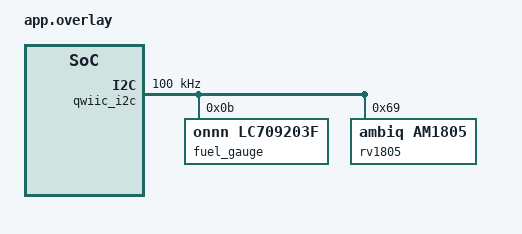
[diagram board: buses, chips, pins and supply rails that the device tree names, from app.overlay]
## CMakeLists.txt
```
# SPDX-License-Identifier: Apache-2.0
#
# ArtemisNano_Hive_Multisense firmware. Adding the app directory to BOARD_ROOT
# makes boards/sparkfun/artemis_nano available as -b sparkfun_artemis_nano.

cmake_minimum_required(VERSION 3.20.0)
list(APPEND BOARD_ROOT ${CMAKE_CURRENT_SOURCE_DIR})
find_package(Zephyr REQUIRED HINTS $ENV{ZEPHYR_BASE})
project(artemis_multisense)

target_sources(app PRIVATE src/main.c src/rv1805.c src/opt4048.c src/bno085.c
  src/person_sensor.c src/hive_ble.c)

# CEVA SH-2 sensor hub library (vendored, unmodified; see lib/sh2/VENDORED.txt).
target_sources(app PRIVATE
  lib/sh2/sh2.c
  lib/sh2/sh2_SensorValue.c
  lib/sh2/sh2_util.c
  lib/sh2/shtp.c
)
target_include_directories(app PRIVATE lib/sh2)
```

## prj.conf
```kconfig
# M4: sensors (RV-1805, LC709203F, OPT4048, BNO085) + BLE MagNET advert and HCP GATT.
CONFIG_GPIO=y
CONFIG_PRINTK=y
CONFIG_I2C=y
CONFIG_RTC=y
CONFIG_FUEL_GAUGE=y
CONFIG_LOG=y
CONFIG_LOG_MODE_IMMEDIATE=y
CONFIG_FPU=y
CONFIG_CBPRINTF_FP_SUPPORT=y
CONFIG_MAIN_STACK_SIZE=2048

# BLE peripheral: MagNET advert + Hanasu HCP GATT service
CONFIG_BT=y
CONFIG_BT_PERIPHERAL=y
CONFIG_BT_MAX_CONN=1
CONFIG_BT_DEVICE_NAME_DYNAMIC=y
CONFIG_BT_DEVICE_NAME_MAX=16
CONFIG_BT_DEVICE_NAME="MagNET"
CONFIG_BT_GATT_DYNAMIC_DB=n
CONFIG_BT_ATT_PREPARE_COUNT=4

# Pairing: Just Works, HCP-AUTH read forces encryption; bonds kept in flash
CONFIG_BT_SMP=y
CONFIG_BT_SMP_ALLOW_UNAUTH_OVERWRITE=y
CONFIG_BT_SETTINGS=y
CONFIG_SETTINGS=y
CONFIG_FLASH=y
CONFIG_FLASH_MAP=y
CONFIG_NVS=y

# Robustness: reboot on a fatal error instead of hanging (handler in main.c).
# No hardware stack guard on this port (no MPU support). CONFIG_STACK_SENTINEL
# was tried once and that boot stalled before BLE (USB also dropped; cause
# unconfirmed), so it stays off until retested.
CONFIG_REBOOT=y
```

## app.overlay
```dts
/*
 * ArtemisNano_Hive_Multisense app overlay.
 * Qwiic bus (IOM2, SCL pad 27 / SDA pad 25) at 100 kHz with the Multisensor chain:
 *   0x0B LC709203F fuel gauge   (M2, in-tree driver)
 *   0x44 OPT4048 color          (M3, out-of-tree driver)
 *   0x4A BNO085 IMU             (M3, CEVA SH-2 port)
 *   0x69 RV-1805 RTC            (M2, in-tree ambiq,am1805 driver; RV-1805 = AM1805)
 */

/ {
	aliases {
		rtc = &rv1805;
		fuel-gauge0 = &fuel_gauge;
	};
};

&qwiic_i2c {
	clock-frequency = <I2C_BITRATE_STANDARD>;
	status = "okay";

	fuel_gauge: lc709203f@b {
		compatible = "onnn,lc709203f";
		reg = <0x0b>;
		apa = "2000mAh";		/* 3.7 V 2000 mAh LiPo */
		battery-profile = <0x01>;	/* 4.2 V charged (Adafruit default) */
	};

	/* Alarm (CONFIG_RTC_ALARM) needs am1805-gpios = RV-1805 INT -> D6 (pad 43); not wired yet. */
	rv1805: rv1805@69 {
		compatible = "ambiq,am1805";
		reg = <0x69>;
	};
};
```

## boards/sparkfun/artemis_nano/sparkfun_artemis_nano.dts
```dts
/*
 * SPDX-License-Identifier: Apache-2.0
 *
 * SparkFun RedBoard Artemis Nano (DEV-15443), Artemis module = Ambiq Apollo3 Blue.
 * Derived from boards/ambiq/apollo3_evb (Zephyr v4.4.2).
 */

/dts-v1/;
#include <ambiq/ambiq_apollo3_blue.dtsi>

#include "sparkfun_artemis_nano-pinctrl.dtsi"

/ {
	model = "SparkFun RedBoard Artemis Nano";
	compatible = "sparkfun,artemis-nano";

	chosen {
		zephyr,itcm = &tcm;
		zephyr,sram = &sram0;
		zephyr,flash = &flash0;
		zephyr,console = &uart0;
		zephyr,shell-uart = &uart0;
		zephyr,flash-controller = &flash;
		zephyr,code-partition = &slot0_partition;
		zephyr,bt-hci = &bt_hci_apollo;
	};

	aliases {
		watchdog0 = &wdt0;
		led0 = &led0;
	};

	leds {
		compatible = "gpio-leds";

		/* Blue LED D1 on pad 19 via 1k to GND: active high */
		led0: led_0 {
			gpios = <&gpio0_31 19 GPIO_ACTIVE_HIGH>;
			label = "Blue LED";
		};
	};
};

&flash0 {
	erase-block-size = <8192>;
	write-block-size = <4>;

	partitions {
		compatible = "fixed-partitions";
		#address-cells = <1>;
		#size-cells = <1>;

		/* Ambiq secure bootloader: never write */
		internal_boot_partition: partition@0 {
			label = "internal_bootloader";
			reg = <0x00000000 0xc000>;
			read-only;
		};

		/* SparkFun Variable Loader (SVL): USB recovery path, never write */
		svl_partition: partition@c000 {
			label = "svl";
			reg = <0x0000c000 0x4000>;
			read-only;
		};

		/* Application, linked here via CONFIG_FLASH_LOAD_OFFSET=0x10000 */
		slot0_partition: partition@10000 {
			label = "image-0";
			reg = <0x00010000 0xec000>;
		};

		/* 16 KB at the end of the 1 MB flash */
		storage_partition: partition@fc000 {
			label = "storage";
			reg = <0x000fc000 0x4000>;
		};
	};
};

&stimer0 {
	clk-source = <3>;
};

&uart0 {
	current-speed = <115200>;
	pinctrl-0 = <&uart0_default>;
	pinctrl-names = "default";
	status = "okay";
};

&wdt0 {
	status = "okay";
};

/* Qwiic connector, off until a phase needs it */
&iom2 {
	qwiic_i2c: i2c {
		pinctrl-0 = <&i2c2_default>;
		pinctrl-names = "default";
		clock-frequency = <I2C_BITRATE_STANDARD>;
		scl-gpios = <&gpio0_31 27 (GPIO_OPEN_DRAIN | GPIO_PULL_UP)>;
		sda-gpios = <&gpio0_31 25 (GPIO_OPEN_DRAIN | GPIO_PULL_UP)>;
		status = "disabled";
	};
};

/*
 * Servo PWM on D9 (pad 39), timer 2 segment B. Off for phase 2; phase 3 enables it
 * and moves timer 2 to the 3 MHz clock so a 20 ms frame (60000 counts) fits in 16 bits.
 */
&timer2 {
	pwm2: pwm {
		timer-segment = "SEGMENT_B";
		pwm-type = "PWM_REPEAT";
		pinctrl-0 = <&pwm2_default>;
		pinctrl-names = "default";
		status = "disabled";
	};
};

/*
 * BLE: the Apollo3 Blue radio sits inside the Artemis module behind the internal
 * BLEIF, so no pads are needed. The EVB's bleif_default pinmux (pads 30-33, 35, 41)
 * is only applied with CONFIG_SPI_AMBIQ_BLEIF_TIMING_TRACE, so it is left out here
 * and header pins A1/A5/A14/A15 stay free.
 */
&bleif {
	status = "okay";
};

&gpio0_31 {
	status = "okay";
};

&gpio32_63 {
	status = "okay";
};
```

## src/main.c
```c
/*
 * SPDX-License-Identifier: Apache-2.0
 *
 * ArtemisNano_Hive_Multisense.
 *
 * M4: sensors (M2/M3) + BLE.
 *   - RV-1805 RTC (ambiq,am1805 driver + trickle charger), LC709203F fuel gauge,
 *     OPT4048 color (src/opt4048.c), BNO085 IMU via CEVA SH-2 (src/bno085.c).
 *   - Every 10 s: sample everything into one snapshot, print it, refresh the advert.
 *   - BLE (src/hive_ble.c): MagNET advert with the sensor bitmap + readings, and
 *     the Hanasu HCP GATT service answering WHOAMI/STATUS/CAPS/SENSE.
 *
 * Boot check (from P2): blue LED lights before the kernel starts.
 *   LED on, no text -> console pins/baud wrong.  LED off -> image never ran.
 *
 * Blue LED, once running:
 *   1 Hz even blink      -> up, advertising, nobody connected
 *   short pulse / 2.5 s  -> a central is connected
 *   solid on             -> never reached main() (see the boot check above)
 */

#include <stdio.h>
#include <string.h>
#include <zephyr/kernel.h>
#include <zephyr/init.h>
#include <zephyr/sys/byteorder.h>
#include <zephyr/sys/printk.h>
#include <zephyr/drivers/gpio.h>
#include <zephyr/drivers/i2c.h>
#include <zephyr/drivers/rtc.h>
#include <zephyr/drivers/fuel_gauge.h>
#include <zephyr/fatal.h>
#include <zephyr/sys/reboot.h>
#include <cmsis_core.h>
#include <am_mcu_apollo.h>
#include "rv1805.h"
#include "opt4048.h"
#include "bno085.h"
#include "person_sensor.h"
#include "multisense.h"
#include "hive_ble.h"

#define BLUE_LED_PAD 19
#define RV1805_ADDR  0x69
#define OPT4048_ADDR 0x44
#define BNO085_ADDR  0x4A
#define PERSON_ADDR  PERSON_SENSOR_ADDR

/*
 * Full-bus sweep at boot, in addition to the targeted probe of known[].
 *
 * Off by default: it puts a 1-byte read on every one of the ~112 valid 7-bit
 * addresses, including ones no driver owns, and a working node does not need
 * that traffic on every boot. Turn it on when a part that should be present is
 * missing — it is the only way to see a device that moved address (an OPT4048
 * strapped to 0x45 instead of 0x44, say) or one that nobody has added to
 * known[] yet. known[] alone answers "is the Person Sensor there", so the sweep
 * is for the addresses we have not thought of.
 */
#define MS_BUS_SWEEP 0

#define REPORT_PERIOD_MS 10000

/*
 * Blue LED cadence — the only thing this board can say without a console, so
 * the two states must not look alike from across the bench:
 *   advertising, nobody connected : 1 Hz even blink (as it has always been)
 *   a central connected           : a short pulse every 2.5 s
 * The connected pattern is also the cheaper one (80 ms on in 2500 ms, ~3% duty
 * against 50%), which matters for M5: the red power LED is ~1.5 mA and this one
 * is on the same order.
 */
#define LED_ADV_ON_MS    500
#define LED_ADV_OFF_MS   500
#define LED_CONN_ON_MS    80
#define LED_CONN_OFF_MS 2420

/*
 * Last OPT4048 read, kept for the console only (not part of ms_readings, which
 * crosses to hive_ble). M3 printed the error code and the raw channel codes;
 * M4 dropped both, which is why a node whose light sensor stopped reporting
 * could only say "no data" -- no errno, no way to tell darkness from a fault.
 */
static int light_err;
static int presence_err;
static uint32_t light_raw[4];
static uint8_t light_counter;

static const struct gpio_dt_spec led = GPIO_DT_SPEC_GET(DT_ALIAS(led0), gpios);
static const struct device *const qwiic = DEVICE_DT_GET(DT_NODELABEL(qwiic_i2c));
static const struct device *const rtc = DEVICE_DT_GET(DT_ALIAS(rtc));
static const struct device *const gauge = DEVICE_DT_GET(DT_ALIAS(fuel_gauge0));

static const struct {
	uint8_t addr;
	const char *name;
	uint16_t caps;
} known[] = {
	{0x0B, "LC709203F fuel gauge", MS_CAP_BATTERY},
	{0x44, "OPT4048 color", MS_CAP_LUX | MS_CAP_COLOR},
	{0x45, "OPT4048 color (alt)", 0},
	{0x46, "OPT4048 color (alt)", 0},
	{0x4A, "BNO085 IMU", MS_CAP_ORIENTATION},
	{0x4B, "BNO085 IMU (alt)", 0},
	/*
	 * Useful Sensors Person Sensor. v1.0, v1.1 and v2.0 all answer here and are
	 * software-compatible. The M1 scan (2026-10-19) saw an ACK at 0x62 and
	 * recorded it as an unexpected address from a faulty AK9753 board; 0x62 is
	 * this part's documented address, so it was most likely answering correctly.
	 *
	 * src/person_sensor.c reads it, so the capability is claimed here and
	 * cleared again by sensors_bringup() if the probe does not answer.
	 */
	{0x62, "Person Sensor (Useful Sensors)", MS_CAP_PRESENCE},
	{0x69, "RV-1805 RTC", MS_CAP_TIME},
};

static K_MUTEX_DEFINE(snap_lock);
static struct ms_readings snap = {.soc_pct = 0xFF, .tbat_dc = TBAT_NONE_DC};
static uint16_t probed_caps;
static uint8_t device_id[4];

/* Runs before the kernel, drivers and console: drive the LED pad with the HAL. */
static int early_led_on(void)
{
	am_hal_gpio_pinconfig(BLUE_LED_PAD, g_AM_HAL_GPIO_OUTPUT);
	am_hal_gpio_output_set(BLUE_LED_PAD);
	return 0;
}
SYS_INIT(early_led_on, PRE_KERNEL_1, 0);

/*
 * An unattended node must not sit halted after a fault: say why, then reboot.
 * (The default handler spins forever; the RTC keeps time across the reset.)
 */
void k_sys_fatal_error_handler(unsigned int reason, const struct arch_esf *esf)
{
	ARG_UNUSED(esf);
	printk("FATAL %u: rebooting\n", reason);
	sys_reboot(SYS_REBOOT_COLD);
	CODE_UNREACHABLE;
}

void ms_readings_get(struct ms_readings *out)
{
	k_mutex_lock(&snap_lock, K_FOREVER);
	*out = snap;
	k_mutex_unlock(&snap_lock);
}

const uint8_t *ms_device_id(void)
{
	return device_id;
}

/* FNV-1a over the two 32-bit chip ID words: stable per part, spreads low-bit differences. */
static void device_id_init(void)
{
	am_hal_mcuctrl_device_t dev;
	uint32_t h = 2166136261u;

	am_hal_mcuctrl_info_get(AM_HAL_MCUCTRL_INFO_DEVICEID, &dev);
	uint32_t words[2] = {dev.ui32ChipID0, dev.ui32ChipID1};

	for (int w = 0; w < 2; w++) {
		for (int b = 0; b < 4; b++) {
			h ^= (words[w] >> (8 * b)) & 0xFF;
			h *= 16777619u;
		}
	}
	sys_put_be32(h, device_id);
	printk("chip id %08x %08x -> node id %02x%02x%02x%02x\n", dev.ui32ChipID0,
	       dev.ui32ChipID1, device_id[0], device_id[1], device_id[2], device_id[3]);
}

/*
 * Probe only the known Multisensor addresses: the I2C driver logs every NACK as an
 * error, so a full 0x08-0x77 sweep floods the console. Answers set the advert's
 * sensor bitmap; a driver that then fails to start clears its bit again.
 */
#if MS_BUS_SWEEP
/* 0x00-0x07 and 0x78-0x7F are reserved by the I2C spec, so they are skipped. */
static void qwiic_sweep(void)
{
	int found = 0;

	printk("qwiic sweep (0x08-0x77):");
	for (uint8_t addr = 0x08; addr <= 0x77; addr++) {
		uint8_t b;

		if (i2c_read(qwiic, &b, 1, addr) != 0) {
			continue;
		}

		const char *name = "not in known[]";

		for (size_t i = 0; i < ARRAY_SIZE(known); i++) {
			if (known[i].addr == addr) {
				name = known[i].name;
				break;
			}
		}
		printk("\n  0x%02x  %s", addr, name);
		found++;
	}
	printk(found ? "\n  %d device(s)\n" : " nothing\n", found);
}
#endif /* MS_BUS_SWEEP */

static void qwiic_scan(void)
{
	int found = 0;

	printk("qwiic probe:");
	for (size_t i = 0; i < ARRAY_SIZE(known); i++) {
		uint8_t b;

		/* A 1-byte read is the probe; all four parts tolerate it. */
		if (i2c_read(qwiic, &b, 1, known[i].addr) == 0) {
			printk("\n  0x%02x  %s", known[i].addr, known[i].name);
			probed_caps |= known[i].caps;
			found++;
		}
	}
	printk(found ? "\n  %d device(s)\n" : " no devices\n", found);
}

/* Build timestamp -> rtc_time, used once when the RTC holds no valid time. */
static void build_time(struct rtc_time *t)
{
	static const char months[] = "JanFebMarAprMayJunJulAugSepOctNovDec";
	char mon[4] = {0};
	int day = 1, year = 2026, h = 0, m = 0, s = 0;
	const char *p;

	sscanf(__DATE__, "%3s %d %d", mon, &day, &year);
	sscanf(__TIME__, "%d:%d:%d", &h, &m, &s);
	p = strstr(months, mon);

	memset(t, 0, sizeof(*t));
	t->tm_year = year - 1900;
	t->tm_mon = p ? (int)((p - months) / 3) : 0;
	t->tm_mday = day;
	t->tm_hour = h;
	t->tm_min = m;
	t->tm_sec = s;
	t->tm_wday = -1;
	t->tm_yday = -1;
	t->tm_isdst = -1;
}

static void rtc_bringup(void)
{
	struct rtc_time now;
	int err;

	err = rv1805_board_init(qwiic, RV1805_ADDR);
	if (err) {
		printk("rv1805: board init failed (%d)\n", err);
	}
	if (!device_is_ready(rtc)) {
		printk("rtc: driver not ready\n");
		probed_caps &= ~MS_CAP_TIME;
		return;
	}

	err = rtc_get_time(rtc, &now);
	if (err || now.tm_year + 1900 < 2026) {
		struct rtc_time t;

		build_time(&t);
		printk("rtc: no valid time (err %d, year %d); setting build time\n", err,
		       err ? 0 : now.tm_year + 1900);
		err = rtc_set_time(rtc, &t);
		if (err) {
			printk("rtc: set failed (%d)\n", err);
		}
	} else {
		printk("rtc: kept time across reset\n");
	}
}

static void sensors_bringup(void)
{
	int err = opt4048_init(qwiic, OPT4048_ADDR);

	if (err) {
		printk("opt4048: init failed (%d)\n", err);
		probed_caps &= ~(MS_CAP_LUX | MS_CAP_COLOR);
	}

	err = bno085_start(qwiic, BNO085_ADDR);
	if (err) {
		printk("bno085: start failed (%d)\n", err);
		probed_caps &= ~MS_CAP_ORIENTATION;
	}
	if (probed_caps & MS_CAP_PRESENCE) {
		err = person_sensor_init(qwiic, PERSON_ADDR);
		if (err) {
			printk("person: init failed (%d)\n", err);
			probed_caps &= ~MS_CAP_PRESENCE;
		}
	}
	if (!device_is_ready(gauge)) {
		probed_caps &= ~MS_CAP_BATTERY;
	}
}

/* Always TBAT_NONE_DC until a thermistor is fitted (then: FUEL_GAUGE_TEMPERATURE
 * with TSENSE enabled in the driver).
 */
static int16_t battery_temp_dc(void)
{
	return TBAT_NONE_DC;
}

/* Read every sensor into a fresh snapshot, then publish it under the lock. */
static void sample(void)
{
	struct ms_readings r = {
		.caps = probed_caps,
		.soc_pct = 0xFF,
		.tbat_dc = battery_temp_dc(),
	};
	struct rtc_time now;

	k_mutex_lock(&snap_lock, K_FOREVER);
	r.seq = snap.seq + 1;
	k_mutex_unlock(&snap_lock);

	if ((r.caps & MS_CAP_TIME) && rtc_get_time(rtc, &now) == 0) {
		/* Field ranges bounded so the compiler can prove the 19-character fit. */
		snprintf(r.time_iso, sizeof(r.time_iso), "%04u-%02u-%02uT%02u:%02u:%02u",
			 (now.tm_year + 1900) % 10000u, (now.tm_mon + 1) % 100u,
			 now.tm_mday % 100u, now.tm_hour % 100u, now.tm_min % 100u,
			 now.tm_sec % 100u);
		r.time_ok = true;
	}

	if (r.caps & MS_CAP_BATTERY) {
		/* No FUEL_GAUGE_TEMPERATURE: with no thermistor the driver fails the whole
		 * request with -ENOTSUP. battery_temp_dc() stands in for it.
		 */
		fuel_gauge_prop_t props[] = {
			FUEL_GAUGE_VOLTAGE,
			FUEL_GAUGE_RELATIVE_STATE_OF_CHARGE,
		};
		union fuel_gauge_prop_val vals[ARRAY_SIZE(props)];

		if (fuel_gauge_get_props(gauge, props, vals, ARRAY_SIZE(props)) == 0) {
			r.vbat_mv = vals[0].voltage / 1000;	/* uV -> mV */
			r.soc_pct = vals[1].relative_state_of_charge;
		}
	}

	if (r.caps & MS_CAP_LUX) {
		struct opt4048_sample s;

		light_err = opt4048_read(qwiic, OPT4048_ADDR, &s);
		if (light_err == 0) {
			r.light_ok = true;
			r.lux = s.lux;
			r.cie_x = s.cie_x;
			r.cie_y = s.cie_y;
			r.cct = s.cct;
			light_raw[0] = s.raw[0];
			light_raw[1] = s.raw[1];
			light_raw[2] = s.raw[2];
			light_raw[3] = s.raw[3];
			light_counter = s.counter;
		}
	}

	if (r.caps & MS_CAP_PRESENCE) {
		struct person_sensor_sample s;

		presence_err = person_sensor_read(qwiic, PERSON_ADDR, &s);
		if (presence_err == 0) {
			const struct person_sensor_face *f = person_sensor_best(&s);

			r.presence_ok = true;
			r.faces = s.num_faces;
			r.best_id = (f && f->id_confidence > 0) ? f->id : -1;
			r.facing = f ? f->is_facing : false;
		}
	}

	if (r.caps & MS_CAP_ORIENTATION) {
		struct bno085_sample s;

		bno085_get(&s);
		if (s.valid) {
			r.imu_ok = true;
			r.yaw = s.yaw;
			r.pitch = s.pitch;
			r.roll = s.roll;
			r.heading_acc_deg = s.accuracy_deg;
			r.stability = s.stability;
			r.sig_motion = s.sig_motion;
		}
	}

	k_mutex_lock(&snap_lock, K_FOREVER);
	snap = r;
	k_mutex_unlock(&snap_lock);
}

static void print_snapshot(void)
{
	struct ms_readings r;

	ms_readings_get(&r);
	printk("#%u time %s", r.seq, r.time_ok ? r.time_iso : "?");
	if (r.caps & MS_CAP_BATTERY) {
		printk("  vbat %u.%03u V  soc %u%%", r.vbat_mv / 1000, r.vbat_mv % 1000, r.soc_pct);
		if (r.tbat_dc == TBAT_NONE_DC) {
			printk("  tbat n/a (no thermistor)");
		} else {
			printk("  tbat %d.%d C", r.tbat_dc / 10, r.tbat_dc % 10);
		}
	}
	printk("\n");

	if (r.light_ok) {
		printk("light  %.1f lux  xy %.4f,%.4f  cct %.0f K  raw %u/%u/%u/%u  cnt %u\n",
		       (double)r.lux, (double)r.cie_x, (double)r.cie_y, (double)r.cct,
		       light_raw[0], light_raw[1], light_raw[2], light_raw[3], light_counter);
	} else if (r.caps & MS_CAP_LUX) {
		/* -EIO bus, -EBADMSG CRC. Detected at boot, so this is not a cable. */
		printk("light  err %d\n", light_err);
	} else {
		printk("light  absent\n");
	}

	if (r.presence_ok) {
		printk("person %u face(s)%s%s\n", r.faces,
		       r.faces && r.facing ? ", facing" : "",
		       r.best_id >= 0 ? ", recognised" : "");
	} else if (r.caps & MS_CAP_PRESENCE) {
		printk("person err %d\n", presence_err);
	} else {
		printk("person absent\n");
	}

	if (r.imu_ok) {
		printk("imu    yaw %.1f pitch %.1f roll %.1f (+/-%.1f deg)  %s  sigmo=%u\n",
		       (double)r.yaw, (double)r.pitch, (double)r.roll, (double)r.heading_acc_deg,
		       bno085_stability_str(r.stability), r.sig_motion);
	} else {
		printk("imu    %s\n", (r.caps & MS_CAP_ORIENTATION) ? "no data yet" : "absent");
	}
}

int main(void)
{
	printk("\n*** artemis_multisense " MS_FW_VERSION " on %s ***\n", CONFIG_BOARD_TARGET);
	printk("VTOR=0x%08x (expect 0x%08x)\n", (unsigned int)SCB->VTOR,
	       (unsigned int)CONFIG_FLASH_LOAD_OFFSET);

	if (!gpio_is_ready_dt(&led) || gpio_pin_configure_dt(&led, GPIO_OUTPUT_ACTIVE) < 0) {
		printk("led0 not ready\n");
		return 0;
	}
	if (!device_is_ready(qwiic)) {
		printk("qwiic_i2c not ready\n");
		return 0;
	}

	device_id_init();
#if MS_BUS_SWEEP
	qwiic_sweep();
#endif
	qwiic_scan();
	rtc_bringup();
	sensors_bringup();
	printk("sensor bitmap 0x%04x\n", probed_caps);

	sample();
	if (hive_ble_start() != 0) {
		printk("ble: not started; sensors only\n");
	}

	/*
	 * Two independent deadlines on one thread: the report period is wall-clock
	 * and must not drift when the LED slows down on connect, and an LED phase
	 * must not stretch because a sample happened to land inside it.
	 */
	int64_t next_sample = k_uptime_get() + REPORT_PERIOD_MS;
	int64_t next_led = k_uptime_get() + LED_ADV_ON_MS;
	bool led_on = true;	/* already on: GPIO_OUTPUT_ACTIVE, and early_led_on() */

	for (;;) {
		const int64_t now = k_uptime_get();

		if (now >= next_sample) {
			sample();
			print_snapshot();
			hive_ble_update();
			next_sample += REPORT_PERIOD_MS;
			continue;
		}

		if (now >= next_led) {
			led_on = !led_on;
			gpio_pin_set_dt(&led, led_on ? 1 : 0);
			/*
			 * The cadence is read at each edge, so a connect or disconnect
			 * shows up within one phase (at worst the 2.4 s off-phase).
			 */
			const bool conn = hive_ble_connected();

			if (led_on) {
				next_led = now + (conn ? LED_CONN_ON_MS : LED_ADV_ON_MS);
			} else {
				next_led = now + (conn ? LED_CONN_OFF_MS : LED_ADV_OFF_MS);
			}
			continue;
		}

		k_msleep((uint32_t)(MIN(next_sample, next_led) - now));
	}
	return 0;
}
```

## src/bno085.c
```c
/* SPDX-License-Identifier: Apache-2.0 */

#include <errno.h>
#include <math.h>
#include <string.h>
#include <zephyr/kernel.h>
#include <zephyr/drivers/i2c.h>
#include <zephyr/sys/printk.h>
#include "sh2.h"
#include "sh2_err.h"
#include "sh2_SensorValue.h"
#include "bno085.h"

#define RV_INTERVAL_US        100000	/* rotation vector, 10 Hz */
#define STABILITY_INTERVAL_US 1000000	/* stability classifier, 1 Hz */
#define SIG_MOTION_ARM_US     1000000	/* any non-zero interval arms the one-shot */
#define POLL_MS               10

static const struct device *bus;
static uint16_t bus_addr;

static struct k_spinlock lock;
static struct bno085_sample latest;
static volatile bool need_config;
static volatile bool need_rearm;
static K_SEM_DEFINE(started, 0, 1);
static int start_err = -ETIMEDOUT;

/* SHTP transfers are at most SH2_HAL_MAX_TRANSFER_IN; the IOM wants word-aligned buffers. */
static uint8_t rx_buf[SH2_HAL_MAX_TRANSFER_IN] __aligned(4);
static uint8_t tx_buf[SH2_HAL_MAX_TRANSFER_OUT] __aligned(4);

/* ---- SH-2 HAL over Zephyr I2C (polled) ---- */

static uint32_t hal_time_us(sh2_Hal_t *self)
{
	ARG_UNUSED(self);
	return (uint32_t)k_ticks_to_us_floor64(k_uptime_ticks());
}

static int hal_open(sh2_Hal_t *self)
{
	/* No RST line yet: SHTP soft reset (channel 1 "executable", command 1). */
	static const uint8_t soft_reset[] = {5, 0, 1, 0, 1};

	ARG_UNUSED(self);
	for (int tries = 0; tries < 5; tries++) {
		memcpy(tx_buf, soft_reset, sizeof(soft_reset));
		if (i2c_write(bus, tx_buf, sizeof(soft_reset), bus_addr) == 0) {
			k_msleep(300);
			return 0;
		}
		k_msleep(30);
	}
	return SH2_ERR_IO;
}

static void hal_close(sh2_Hal_t *self)
{
	ARG_UNUSED(self);
}

/*
 * Every read transaction starts with the 4-byte SHTP header, so read the header
 * to learn the length, then read the whole transfer (header included) again.
 */
static int hal_read(sh2_Hal_t *self, uint8_t *buf, unsigned len, uint32_t *t_us)
{
	uint8_t hdr[4] __aligned(4);
	uint16_t size;

	if (i2c_read(bus, hdr, sizeof(hdr), bus_addr) != 0) {
		return 0;
	}
	size = (hdr[0] | ((uint16_t)hdr[1] << 8)) & 0x7FFF;
	if (size == 0 || size > len || size > sizeof(rx_buf)) {
		return 0;
	}
	if (i2c_read(bus, rx_buf, size, bus_addr) != 0) {
		return 0;
	}
	memcpy(buf, rx_buf, size);
	*t_us = hal_time_us(self);
	return size;
}

static int hal_write(sh2_Hal_t *self, uint8_t *buf, unsigned len)
{
	ARG_UNUSED(self);
	if (len > sizeof(tx_buf)) {
		return 0;
	}
	memcpy(tx_buf, buf, len);
	return i2c_write(bus, tx_buf, len, bus_addr) == 0 ? (int)len : 0;
}

static sh2_Hal_t hal = {
	.open = hal_open,
	.close = hal_close,
	.read = hal_read,
	.write = hal_write,
	.getTimeUs = hal_time_us,
};

/* ---- SH-2 callbacks (run inside sh2_service on the IMU thread) ---- */

static void on_event(void *cookie, sh2_AsyncEvent_t *ev)
{
	ARG_UNUSED(cookie);
	if (ev->eventId == SH2_RESET) {
		k_spinlock_key_t key = k_spin_lock(&lock);

		latest.resets++;
		k_spin_unlock(&lock, key);
		need_config = true;
	}
}

static void on_sensor(void *cookie, sh2_SensorEvent_t *event)
{
	sh2_SensorValue_t v;

	ARG_UNUSED(cookie);
	if (sh2_decodeSensorEvent(&v, event) != SH2_OK) {
		return;
	}

	k_spinlock_key_t key = k_spin_lock(&lock);

	switch (v.sensorId) {
	case SH2_ROTATION_VECTOR: {
		float i = v.un.rotationVector.i, j = v.un.rotationVector.j;
		float k = v.un.rotationVector.k, r = v.un.rotationVector.real;
		const float deg = 57.2957795f;

		latest.qi = i;
		latest.qj = j;
		latest.qk = k;
		latest.qr = r;
		latest.accuracy_deg = v.un.rotationVector.accuracy * deg;
		latest.yaw = atan2f(2.0f * (i * j + k * r), i * i - j * j - k * k + r * r) * deg;
		latest.pitch = asinf(fmaxf(-1.0f, fminf(1.0f, -2.0f * (i * k - j * r)))) * deg;
		latest.roll = atan2f(2.0f * (j * k + i * r), -i * i - j * j + k * k + r * r) * deg;
		latest.reports++;
		latest.valid = true;
		break;
	}
	case SH2_SIGNIFICANT_MOTION:
		latest.sig_motion++;
		need_rearm = true;
		break;
	case SH2_STABILITY_CLASSIFIER:
		latest.stability = v.un.stabilityClassifier.classification;
		break;
	default:
		break;
	}
	k_spin_unlock(&lock, key);
}

static int enable_report(sh2_SensorId_t id, uint32_t interval_us)
{
	sh2_SensorConfig_t cfg = {.reportInterval_us = interval_us};

	return sh2_setSensorConfig(id, &cfg);
}

static void configure(void)
{
	int a = enable_report(SH2_ROTATION_VECTOR, RV_INTERVAL_US);
	int b = enable_report(SH2_STABILITY_CLASSIFIER, STABILITY_INTERVAL_US);
	int c = enable_report(SH2_SIGNIFICANT_MOTION, SIG_MOTION_ARM_US);

	if (a != SH2_OK || b != SH2_OK || c != SH2_OK) {
		printk("bno085: enable reports failed (%d, %d, %d)\n", a, b, c);
		return;
	}
	need_config = false;
	need_rearm = false;
}

static void imu_thread(void *p1, void *p2, void *p3)
{
	sh2_ProductIds_t ids = {0};
	int err;

	ARG_UNUSED(p1);
	ARG_UNUSED(p2);
	ARG_UNUSED(p3);

	err = sh2_open(&hal, on_event, NULL);
	if (err != SH2_OK) {
		start_err = -ENODEV;
		k_sem_give(&started);
		return;
	}
	sh2_setSensorCallback(on_sensor, NULL);

	if (sh2_getProdIds(&ids) == SH2_OK && ids.numEntries > 0) {
		printk("bno085: part %u v%u.%u.%u build %u\n", ids.entry[0].swPartNumber,
		       ids.entry[0].swVersionMajor, ids.entry[0].swVersionMinor,
		       ids.entry[0].swVersionPatch, ids.entry[0].swBuildNumber);
	} else {
		printk("bno085: no product ID response\n");
	}
	configure();
	start_err = 0;
	k_sem_give(&started);

	for (;;) {
		sh2_service();
		if (need_config) {
			printk("bno085: hub reset, re-enabling reports\n");
			configure();
		} else if (need_rearm) {
			/* Significant motion disables itself after firing. */
			need_rearm = false;
			enable_report(SH2_SIGNIFICANT_MOTION, SIG_MOTION_ARM_US);
		}
		k_msleep(POLL_MS);
	}
}

K_THREAD_STACK_DEFINE(imu_stack, 3072);
static struct k_thread imu_tdata;

int bno085_start(const struct device *i2c, uint16_t addr)
{
	bus = i2c;
	bus_addr = addr;
	k_thread_create(&imu_tdata, imu_stack, K_THREAD_STACK_SIZEOF(imu_stack), imu_thread,
			NULL, NULL, NULL, K_PRIO_PREEMPT(8), 0, K_NO_WAIT);
	k_thread_name_set(&imu_tdata, "imu");
	k_sem_take(&started, K_SECONDS(5));
	return start_err;
}

void bno085_get(struct bno085_sample *out)
{
	k_spinlock_key_t key = k_spin_lock(&lock);

	*out = latest;
	k_spin_unlock(&lock, key);
}

const char *bno085_stability_str(uint8_t s)
{
	static const char *const names[] = {"unknown", "on-table", "stationary", "stable",
					    "motion"};

	return s < ARRAY_SIZE(names) ? names[s] : "?";
}
```

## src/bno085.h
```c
/* SPDX-License-Identifier: Apache-2.0 */
#pragma once

#include <stdbool.h>
#include <stdint.h>
#include <zephyr/device.h>

/*
 * BNO085 9-DoF fusion IMU (Adafruit 4754) over I2C, via CEVA's SH-2 library
 * (lib/sh2, Apache-2.0). A dedicated thread owns the SH-2 instance and polls the
 * bus every 10 ms; INT (D8) and RST (D10) are not required yet. Once INT is wired
 * the thread will sleep until it fires instead (M5).
 *
 * Reports enabled: rotation vector (10 Hz), stability classifier (1 Hz) and
 * significant motion (one-shot; re-armed after each event).
 */
struct bno085_sample {
	bool valid;		/* at least one rotation vector received */
	float qi, qj, qk, qr;	/* unit quaternion */
	float accuracy_deg;	/* heading accuracy estimate */
	float yaw, pitch, roll;	/* degrees */
	uint8_t stability;	/* 0 unknown, 1 on table, 2 stationary, 3 stable, 4 motion */
	uint32_t reports;	/* rotation vector reports since boot */
	uint32_t resets;	/* hub resets seen (includes the boot reset) */
	uint32_t sig_motion;	/* significant-motion events since boot */
};

/* Start the IMU thread. Returns 0, or -ENODEV if the hub never answered. */
int bno085_start(const struct device *i2c, uint16_t addr);

/* Copy the latest values. */
void bno085_get(struct bno085_sample *out);

/* Text for bno085_sample.stability. */
const char *bno085_stability_str(uint8_t s);
```

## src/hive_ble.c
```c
/* SPDX-License-Identifier: Apache-2.0 */

#include <stdio.h>
#include <stdarg.h>
#include <string.h>
#include <zephyr/kernel.h>
#include <zephyr/bluetooth/bluetooth.h>
#include <zephyr/bluetooth/conn.h>
#include <zephyr/bluetooth/gatt.h>
#include <zephyr/bluetooth/uuid.h>
#include <zephyr/settings/settings.h>
#include <zephyr/sys/byteorder.h>
#include <zephyr/sys/printk.h>
#include "multisense.h"
#include "hive_ble.h"

#define COMPANY_TEST 0xFFFF
#define ADV_FORMAT   1
#define HDR_LEN      6
#define RSP_LEN      (HDR_LEN + 8)

/* 6d61676e-2d68-6370-0001-0000000000NN: ASCII "magn" "-h" "cp" (Hanasu) */
#define MN_UUID(nn) BT_UUID_128_ENCODE(0x6d61676e, 0x2d68, 0x6370, 0x0001, (nn##ULL))
static const struct bt_uuid_128 svc_uuid = BT_UUID_INIT_128(MN_UUID(0x000000000000));
static const struct bt_uuid_128 cmd_uuid = BT_UUID_INIT_128(MN_UUID(0x000000000001));
static const struct bt_uuid_128 evt_uuid = BT_UUID_INIT_128(MN_UUID(0x000000000002));
static const struct bt_uuid_128 auth_uuid = BT_UUID_INIT_128(MN_UUID(0x000000000003));

static struct bt_conn *cur_conn;
static bool encrypted;
static bool running;
static char name[16];

/* ---- advert payloads ---- */

static uint8_t adv_mfg[2 + HDR_LEN];
static uint8_t rsp_mfg[2 + RSP_LEN];

static const uint8_t adv_flags = BT_LE_AD_GENERAL | BT_LE_AD_NO_BREDR;
static const uint8_t adv_uuid[] = {MN_UUID(0x000000000000)};

static struct bt_data ad[] = {
	BT_DATA(BT_DATA_FLAGS, &adv_flags, 1),
	BT_DATA(BT_DATA_UUID128_ALL, adv_uuid, sizeof(adv_uuid)),
	BT_DATA(BT_DATA_MANUFACTURER_DATA, adv_mfg, sizeof(adv_mfg)),
};
static struct bt_data sd[] = {
	BT_DATA(BT_DATA_NAME_COMPLETE, name, 0),
	BT_DATA(BT_DATA_MANUFACTURER_DATA, rsp_mfg, sizeof(rsp_mfg)),
};

static uint16_t sat_u16(float v)
{
	return v <= 0.0f ? 0 : (v >= 65535.0f ? 65535 : (uint16_t)(v + 0.5f));
}

static void build_payloads(void)
{
	struct ms_readings r;

	ms_readings_get(&r);

	uint8_t *h = &rsp_mfg[2];

	sys_put_le16(COMPANY_TEST, rsp_mfg);
	h[0] = (ADV_FORMAT << 4) | MS_ROLE_MULTISENSOR;
	sys_put_le16(r.caps, &h[1]);
	h[3] = (r.caps & MS_CAP_BATTERY) ? r.soc_pct : 0xFF;
	h[4] = r.seq;
	h[5] = 0;	/* no role bundle installed yet (M7) */

	sys_put_le16(r.light_ok ? sat_u16(r.lux) : 0xFFFF, &h[6]);
	sys_put_le16(r.light_ok ? sat_u16(r.cct) : 0xFFFF, &h[8]);
	sys_put_le16(r.imu_ok ? (uint16_t)(int16_t)r.yaw : 0x8000, &h[10]);
	h[12] = r.imu_ok ? r.stability : 0xFF;
	h[13] = (uint8_t)r.sig_motion;

	memcpy(adv_mfg, rsp_mfg, sizeof(adv_mfg));
}

bool hive_ble_connected(void)
{
	return cur_conn != NULL;
}

static void start_adv(void)
{
	int err;

	build_payloads();
	sd[0].data_len = strlen(name);
	err = bt_le_adv_start(BT_LE_ADV_CONN_FAST_2, ad, ARRAY_SIZE(ad), sd, ARRAY_SIZE(sd));
	if (err && err != -EALREADY) {
		printk("ble: adv start failed (%d)\n", err);
	}
}

void hive_ble_update(void)
{
	if (!running) {
		return;
	}
	build_payloads();
	/* -EAGAIN while connected (not advertising): ignored, refreshed on restart. */
	(void)bt_le_adv_update_data(ad, ARRAY_SIZE(ad), sd, ARRAY_SIZE(sd));
}

/* ---- GATT: Hanasu HCP service ---- */

#define LINE_MAX 200
K_MSGQ_DEFINE(line_q, LINE_MAX, 4, 4);
static char rx_line[LINE_MAX];
static size_t rx_len;

static void post_line(void)
{
	if (rx_len == 0) {
		return;
	}
	rx_line[rx_len] = '\0';
	(void)k_msgq_put(&line_q, rx_line, K_NO_WAIT);	/* never block the BT RX thread */
	rx_len = 0;
}

static void feed(const uint8_t *data, size_t len, bool write_complete)
{
	for (size_t i = 0; i < len; i++) {
		char c = (char)data[i];

		if (c == '\n' || c == '\r') {
			post_line();
			write_complete = false;
		} else if (rx_len < sizeof(rx_line) - 1) {
			rx_line[rx_len++] = c;
		}
	}
	if (write_complete) {
		post_line();
	}
}

static void long_write_flush(struct k_work *w)
{
	ARG_UNUSED(w);
	post_line();
}
static K_WORK_DELAYABLE_DEFINE(long_flush, long_write_flush);

static ssize_t cmd_write(struct bt_conn *conn, const struct bt_gatt_attr *attr, const void *buf,
			 uint16_t len, uint16_t offset, uint8_t flags)
{
	ARG_UNUSED(attr);
	if (flags & BT_GATT_WRITE_FLAG_PREPARE) {
		return 0;
	}
	if (flags & BT_GATT_WRITE_FLAG_EXECUTE) {
		if (offset == 0) {
			rx_len = 0;
		}
		feed(buf, len, false);
		k_work_reschedule(&long_flush, K_MSEC(20));
		return len;
	}
	/* A write of exactly (MTU-3) may continue; anything else ends the line. */
	feed(buf, len, len != bt_gatt_get_mtu(conn) - 3);
	return len;
}

static ssize_t auth_read(struct bt_conn *conn, const struct bt_gatt_attr *attr, void *buf,
			 uint16_t len, uint16_t offset)
{
	static const char ok[] = "bonded";

	return bt_gatt_attr_read(conn, attr, buf, len, offset, ok, sizeof(ok) - 1);
}

static ssize_t evt_read(struct bt_conn *conn, const struct bt_gatt_attr *attr, void *buf,
			uint16_t len, uint16_t offset)
{
	return bt_gatt_attr_read(conn, attr, buf, len, offset, "", 0);
}

static void evt_ccc_changed(const struct bt_gatt_attr *attr, uint16_t value)
{
	ARG_UNUSED(attr);
	ARG_UNUSED(value);
}

BT_GATT_SERVICE_DEFINE(hcp_svc,
	BT_GATT_PRIMARY_SERVICE(&svc_uuid),
	BT_GATT_CHARACTERISTIC(&cmd_uuid.uuid, BT_GATT_CHRC_WRITE | BT_GATT_CHRC_WRITE_WITHOUT_RESP,
			       BT_GATT_PERM_WRITE | BT_GATT_PERM_PREPARE_WRITE, NULL, cmd_write,
			       NULL),
	BT_GATT_CHARACTERISTIC(&evt_uuid.uuid, BT_GATT_CHRC_NOTIFY | BT_GATT_CHRC_READ,
			       BT_GATT_PERM_READ, evt_read, NULL, NULL),
	BT_GATT_CCC(evt_ccc_changed, BT_GATT_PERM_READ | BT_GATT_PERM_WRITE),
	BT_GATT_CHARACTERISTIC(&auth_uuid.uuid, BT_GATT_CHRC_READ, BT_GATT_PERM_READ_ENCRYPT,
			       auth_read, NULL, NULL),
);
#define EVT_ATTR (&hcp_svc.attrs[4])

/* Chunk to (MTU-3); the client reassembles at '\n'. Also echoed to the console. */
static void write_line(const char *line)
{
	struct bt_conn *conn = cur_conn;
	char buf[256];

	printk("hcp> %s\n", line);
	if (!conn || !bt_gatt_is_subscribed(conn, EVT_ATTR, BT_GATT_CCC_NOTIFY)) {
		return;
	}

	size_t chunk = MIN(bt_gatt_get_mtu(conn) - 3, sizeof(buf) - 1);
	size_t len = strlen(line);

	for (size_t off = 0; off <= len; off += chunk) {
		size_t n = len - off;
		/* Strictly less: the '\n' must fit in the same notification. A line of
		 * exactly `chunk` bytes goes out full, then the '\n' alone next pass.
		 */
		bool last = n < chunk;
		int rc = -ENOMEM;

		if (!last) {
			n = chunk;
		}
		memcpy(buf, line + off, n);
		if (last) {
			buf[n++] = '\n';
		}
		for (int attempt = 0; attempt < 12 && rc != 0; attempt++) {
			rc = bt_gatt_notify(conn, EVT_ATTR, buf, n);
			if (rc == -ENOMEM || rc == -ENOBUFS) {
				k_msleep(10);
			} else if (rc != 0) {
				printk("ble: notify failed (%d) at %u/%u\n", rc, off, len);
				return;
			}
		}
		if (rc != 0 || last) {
			return;
		}
	}
}

/* ---- minimal HCP dispatcher (until the shared core arrives in M7) ---- */

static void respond(const char *tag, const char *body)
{
	char out[320];

	if (tag[0]) {
		snprintf(out, sizeof(out), "@%s %s", tag, body);
	} else {
		snprintf(out, sizeof(out), "%s", body);
	}
	write_line(out);
}

static const char *stability_str(uint8_t s)
{
	static const char *const names[] = {"unknown", "on-table", "stationary", "stable",
					    "motion"};

	return s < ARRAY_SIZE(names) ? names[s] : "?";
}

/*
 * Append to a line, saturating at the end of the buffer.
 *
 * The plain `n = append(buf, cap, n, ...)` idiom is fine until `n`
 * reaches `cap`: then `cap - n` is a *negative value converted to size_t*,
 * snprintf is told the buffer is gigantic, and it writes off the end. snprintf
 * also returns the length it *would* have written, so `n` can exceed `cap`
 * after a clean truncation and the next call is the one that overruns. Both
 * lines below are within budget today (CAPS 251, SENSE 210 of 320 worst case),
 * but the margin is one new sensor wide, so the idiom goes away.
 */
static int append(char *buf, size_t cap, int n, const char *fmt, ...)
{
	va_list ap;
	int w;

	if (n < 0 || (size_t)n >= cap) {
		return (int)cap;
	}
	va_start(ap, fmt);
	w = vsnprintf(buf + n, cap - n, fmt, ap);
	va_end(ap);
	if (w < 0) {
		return (int)cap;
	}
	n += w;
	return (size_t)n > cap ? (int)cap : n;
}

static void sense_line(char *buf, size_t cap)
{
	struct ms_readings r;
	int n;

	ms_readings_get(&r);
	n = snprintf(buf, cap, "+OK seq=%u", r.seq);
	if (r.time_ok) {
		n = append(buf, cap, n, " time=%s", r.time_iso);
	}
	if (r.caps & MS_CAP_BATTERY) {
		n = append(buf, cap, n, " vbat=%u.%03u soc=%u", r.vbat_mv / 1000,
			      r.vbat_mv % 1000, r.soc_pct);
		n = append(buf, cap, n, r.tbat_dc == TBAT_NONE_DC ? " tbat=na" : " tbat=%d.%d",
			      r.tbat_dc / 10, r.tbat_dc % 10);
	}
	if (r.presence_ok) {
		n = append(buf, cap, n, " faces=%u facing=%u", r.faces, r.facing ? 1 : 0);
		if (r.best_id >= 0) {
			n = append(buf, cap, n, " faceid=%d", r.best_id);
		}
	}
	if (r.light_ok) {
		n = append(buf, cap, n, " lux=%.1f cct=%.0f x=%.4f y=%.4f", (double)r.lux,
			      (double)r.cct, (double)r.cie_x, (double)r.cie_y);
	}
	if (r.imu_ok) {
		n = append(buf, cap, n, " yaw=%.1f pitch=%.1f roll=%.1f hacc=%.0f motion=%s sigmo=%u",
			   (double)r.yaw, (double)r.pitch, (double)r.roll, (double)r.heading_acc_deg,
			   stability_str(r.stability), r.sig_motion);
	}
}

static void caps_line(char *buf, size_t cap)
{
	struct ms_readings r;
	int n;

	ms_readings_get(&r);
	n = snprintf(buf, cap,
		     "+OK proto=2.1 fw=" MS_FW_VERSION " maxline=%d transports=ble "
		     "verbs=PING,HELP,WHOAMI,STATUS,CAPS,SENSE,CHANNEL,ADMIN mode=HCP role=multisensor sensors=",
		     LINE_MAX);
	const char *sep = "";

	if (r.caps & MS_CAP_PRESENCE) {
		n = append(buf, cap, n, "%spresence:person_sensor", sep);
		sep = ",";
	}
	if (r.caps & MS_CAP_ORIENTATION) {
		n = append(buf, cap, n, "%sorientation:bno085,motion:bno085", sep);
		sep = ",";
	}
	if (r.caps & MS_CAP_LUX) {
		n = append(buf, cap, n, "%slux:opt4048,cct:opt4048", sep);
		sep = ",";
	}
	if (r.caps & MS_CAP_TIME) {
		n = append(buf, cap, n, "%stime:rv1805", sep);
		sep = ",";
	}
	if (r.caps & MS_CAP_BATTERY) {
		n = append(buf, cap, n, "%sbattery:lc709203f", sep);
	}
}

static void dispatch(char *line)
{
	char tag[16] = "";
	char body[320];
	const uint8_t *id = ms_device_id();
	char *p = line;

	while (*p == ' ') {
		p++;
	}
	if (*p == '@') {
		size_t i = 0;

		p++;
		while (*p && *p != ' ' && i < sizeof(tag) - 1) {
			tag[i++] = *p++;
		}
		tag[i] = '\0';
		while (*p == ' ') {
			p++;
		}
	}
	char *verb = p;

	while (*p && *p != ' ') {
		p++;
	}
	char *rest = p;

	if (*rest == ' ') {
		*rest++ = '\0';
		while (*rest == ' ') {
			rest++;
		}
	}

	if (verb[0] == '\0') {
		respond(tag, "-ERR E_SYNTAX empty");
	} else if (!strcmp(verb, "PING")) {
		respond(tag, "+PONG");
	} else if (!strcmp(verb, "HELP")) {
		write_line("# HCP verbs: PING HELP WHOAMI STATUS CAPS SENSE  CHANNEL SHOW  ADMIN LIST");
		respond(tag, "+OK");
	} else if (!strcmp(verb, "WHOAMI")) {
		snprintf(body, sizeof(body), "+OK id=%02x%02x%02x%02x name=%s fw=" MS_FW_VERSION,
			 id[0], id[1], id[2], id[3], name);
		respond(tag, body);
	} else if (!strcmp(verb, "STATUS")) {
		snprintf(body, sizeof(body),
			 "+OK state=READY role=multisensor channel=none peers=0 name=%s "
			 "id=%02x%02x%02x%02x ble=up link=%s",
			 name, id[0], id[1], id[2], id[3], encrypted ? "encrypted" : "open");
		respond(tag, body);
	} else if (!strcmp(verb, "CAPS")) {
		caps_line(body, sizeof(body));
		respond(tag, body);
	} else if (!strcmp(verb, "SENSE")) {
		sense_line(body, sizeof(body));
		respond(tag, body);
	} else if (!strcmp(verb, "CHANNEL")) {
		/* No mesh channel on this node yet (BLE-only until M7). magnet_app's node
		 * screen reads CHANNEL SHOW on every refresh, so answer it honestly.
		 */
		if (!strncmp(rest, "SHOW", 4) || !strncmp(rest, "LIST", 4)) {
			respond(tag, "+OK name=none selector=- path=-");
		} else {
			respond(tag, "-ERR E_UNSUPPORTED no mesh channel on this node yet");
		}
	} else if (!strcmp(verb, "ADMIN")) {
		/* Empty allow-list: no privileged verbs exist here yet. */
		if (!strncmp(rest, "LIST", 4)) {
			respond(tag, "+OK");
		} else {
			respond(tag, "-ERR E_UNSUPPORTED no privileged verbs on this node yet");
		}
	} else {
		snprintf(body, sizeof(body), "-ERR E_UNKNOWN %s", verb);
		respond(tag, body);
	}
}

static void hcp_thread(void *p1, void *p2, void *p3)
{
	char line[LINE_MAX];

	ARG_UNUSED(p1);
	ARG_UNUSED(p2);
	ARG_UNUSED(p3);
	for (;;) {
		k_msgq_get(&line_q, line, K_FOREVER);
		printk("hcp< %s\n", line);
		dispatch(line);
	}
}
/* 4 KB: dispatch() + respond() + write_line() hold ~900 B of line buffers and
 * SENSE formats floats on top. 2 KB overflowed once the IMU fields appeared.
 */
K_THREAD_DEFINE(hcp_tid, 4096, hcp_thread, NULL, NULL, NULL, K_PRIO_PREEMPT(9), 0, 0);

/* ---- connection + security ---- */

static void connected(struct bt_conn *conn, uint8_t err)
{
	char addr[BT_ADDR_LE_STR_LEN];

	if (err) {
		printk("ble: connect failed (0x%02x)\n", err);
		return;
	}
	bt_addr_le_to_str(bt_conn_get_dst(conn), addr, sizeof(addr));
	printk("ble: connected %s\n", addr);
	cur_conn = bt_conn_ref(conn);
	encrypted = false;
	/* No Security Request here (unlike Hanasu): Windows turns it into a pairing
	 * prompt that blocks the first write, and every verb so far is read-only.
	 * A host that wants an encrypted link reads HCP-AUTH, which forces pairing.
	 */
}

static void disconnected(struct bt_conn *conn, uint8_t reason)
{
	if (conn != cur_conn) {
		return;
	}
	printk("ble: disconnected (reason 0x%02x)\n", reason);
	bt_conn_unref(cur_conn);
	cur_conn = NULL;
	encrypted = false;
}

/* Restart advertising only once the connection object is free again. */
static void recycled(void)
{
	if (running) {
		start_adv();
	}
}

static void security_changed(struct bt_conn *conn, bt_security_t level, enum bt_security_err err)
{
	ARG_UNUSED(conn);
	encrypted = (err == BT_SECURITY_ERR_SUCCESS) && level >= BT_SECURITY_L2;
	printk("ble: link %s (level %d err %d)\n", encrypted ? "encrypted" : "NOT encrypted",
	       level, err);
}

BT_CONN_CB_DEFINE(conn_cb) = {
	.connected = connected,
	.disconnected = disconnected,
	.recycled = recycled,
	.security_changed = security_changed,
};

/* Screenless node: accept numeric comparison (Just Works in effect). */
static void passkey_confirm(struct bt_conn *conn, unsigned int passkey)
{
	ARG_UNUSED(passkey);
	bt_conn_auth_passkey_confirm(conn);
}

static void pairing_cancel(struct bt_conn *conn)
{
	ARG_UNUSED(conn);
}

static struct bt_conn_auth_cb auth_cb = {
	.passkey_confirm = passkey_confirm,
	.cancel = pairing_cancel,
};

static void mtu_updated(struct bt_conn *conn, uint16_t tx, uint16_t rx)
{
	ARG_UNUSED(conn);
	printk("ble: mtu tx=%u rx=%u\n", tx, rx);
}

static struct bt_gatt_cb gatt_cb = {.att_mtu_updated = mtu_updated};

int hive_ble_start(void)
{
	const uint8_t *id = ms_device_id();
	bt_addr_le_t addrs[1];
	size_t count = 1;
	char addr[BT_ADDR_LE_STR_LEN];
	int err;

	bt_conn_auth_cb_register(&auth_cb);
	bt_gatt_cb_register(&gatt_cb);

	err = bt_enable(NULL);
	if (err) {
		printk("ble: bt_enable failed (%d)\n", err);
		return err;
	}
	settings_load_subtree("bt");

	snprintf(name, sizeof(name), "MagNET-%02x%02x", id[2], id[3]);
	bt_set_name(name);

	bt_id_get(addrs, &count);
	if (count) {
		bt_addr_le_to_str(&addrs[0], addr, sizeof(addr));
		printk("ble: %s advertising as %s\n", name, addr);
	}

	running = true;
	start_adv();
	return 0;
}
```

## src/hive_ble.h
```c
/* SPDX-License-Identifier: Apache-2.0 */
#pragma once

#include <stdbool.h>

/*
 * MagNET BLE for the Multisensor (M4).
 *
 * Advert (README 5.1): flags + HCP service UUID (as Hanasu) + manufacturer data,
 * company 0xFFFF (testing), 6-byte header:
 *   [0] version<<4 | role (0x1F)  [1..2] sensor bitmap LE  [3] battery %
 *   [4] sequence  [5] bundle tag
 * Scan response: "MagNET-xxxx" + manufacturer data = the same header + readings:
 *   [6..7] lux (u16 LE, saturating)  [8..9] CCT K (u16 LE)  [10..11] yaw deg (s16 LE)
 *   [12] stability  [13] significant-motion count (low byte)
 * The scan response repeats the header so it survives however a stack combines
 * the two packets: bleak keeps only this block, Android concatenates both
 * (header, FF FF, header+readings). See README 5.1.
 *
 * GATT: the Hanasu HCP service (…0000) with CMD (…0001), EVT (…0002, notify),
 * AUTH (…0003, read-encrypted). A small built-in dispatcher answers PING, HELP,
 * WHOAMI, STATUS, CAPS, SENSE, CHANNEL SHOW (none yet) and ADMIN LIST (empty)
 * until the full HCP core lands (M7). magnet_app's node screen needs the last two.
 */

/* Bring up the controller, load bonds, start advertising. */
int hive_ble_start(void);

/* Refresh advert + scan response from the latest snapshot. */
void hive_ble_update(void);

/*
 * True while a central is connected. Used by main() to slow the blue LED to a
 * heartbeat, so the board says which state it is in without a console.
 */
bool hive_ble_connected(void);
```

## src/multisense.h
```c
/* SPDX-License-Identifier: Apache-2.0 */
#pragma once

#include <stdbool.h>
#include <stdint.h>
#include <zephyr/sys/util.h>

/*
 * Shared state between the sensor loop (main.c) and the radio (hive_ble.c).
 * main.c owns the sensors and publishes a snapshot every report period.
 */

/* Advert sensor bitmap (README 5.1). Set from the boot probe, never hard-coded. */
#define MS_CAP_PRESENCE    BIT(0)
#define MS_CAP_LUX         BIT(1)
#define MS_CAP_COLOR       BIT(2)
#define MS_CAP_TIME        BIT(3)
#define MS_CAP_BATTERY     BIT(4)
#define MS_CAP_SOUND       BIT(5)
#define MS_CAP_ORIENTATION BIT(6)

#define MS_ROLE_MULTISENSOR 15
#define MS_FW_VERSION       "0.5.0-m4"

/* Battery temperature sentinel until a thermistor is fitted (deci-degrees C). */
#define TBAT_NONE_DC INT16_MIN

struct ms_readings {
	uint16_t caps;		/* MS_CAP_* detected at boot */
	uint8_t seq;		/* increments with each snapshot */

	/* battery (MS_CAP_BATTERY) */
	uint16_t vbat_mv;
	uint8_t soc_pct;	/* 0xFF = unknown */
	int16_t tbat_dc;	/* TBAT_NONE_DC = no thermistor */

	/* light (MS_CAP_LUX / MS_CAP_COLOR) */
	bool light_ok;
	float lux;
	float cie_x, cie_y;
	float cct;

	/* IMU (MS_CAP_ORIENTATION) */
	bool imu_ok;
	float yaw, pitch, roll;
	float heading_acc_deg;
	uint8_t stability;	/* 0 unknown, 1 on table, 2 stationary, 3 stable, 4 motion */
	uint32_t sig_motion;

	/* presence (MS_CAP_PRESENCE) -- Person Sensor at 0x62 */
	bool presence_ok;
	uint8_t faces;		/* 0-4 in frame */
	int8_t best_id;		/* recognised ID 0-7, or -1 */
	bool facing;		/* the best face is looking at the sensor */

	/* time (MS_CAP_TIME) */
	bool time_ok;
	char time_iso[32];	/* YYYY-MM-DDTHH:MM:SS (sized for the compiler's worst case) */
};

/* Copy the latest snapshot (thread-safe). */
void ms_readings_get(struct ms_readings *out);

/* Stable 4-byte node ID from the Apollo3 chip ID. */
const uint8_t *ms_device_id(void);
```

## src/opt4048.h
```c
/* SPDX-License-Identifier: Apache-2.0 */
#pragma once

#include <stdint.h>
#include <zephyr/device.h>

/*
 * TI OPT4048 tristimulus color sensor (Adafruit 6335). Zephyr has no driver, so
 * this is a small register-level one: continuous auto-range conversions, burst
 * read of all four channels with CRC check, CIE 1931 xy + lux + CCT from the
 * datasheet matrix (same coefficients as Adafruit_OPT4048).
 */
struct opt4048_sample {
	uint32_t raw[4];	/* ADC codes CH0..CH3 (X, Y, Z, W) */
	uint8_t counter;	/* CH0 conversion counter, 0-15, wraps; increments per conversion */
	float lux;
	float cie_x;
	float cie_y;
	float cct;		/* Kelvin, 0 when the light is too dim to compute */
};

/* Returns 0, -ENODEV (no answer), -ENOTSUP (wrong device ID) or -EIO. */
int opt4048_init(const struct device *i2c, uint16_t addr);

/*
 * Returns 0, -EBADMSG (CRC mismatch) or -EIO.
 *
 * **Zero is a valid reading.** A covered or unlit sensor really does report
 * zero on all four channels, so this no longer reports that as -EAGAIN: doing
 * so made darkness indistinguishable from a broken part, and the node then
 * published "no light sensor data" instead of "0 lux". opt4048_init() waits out
 * the first conversion so a read is always against converted data.
 */
int opt4048_read(const struct device *i2c, uint16_t addr, struct opt4048_sample *s);
```

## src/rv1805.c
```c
/* SPDX-License-Identifier: Apache-2.0 */

#include <errno.h>
#include <zephyr/drivers/i2c.h>
#include <zephyr/sys/printk.h>
#include "rv1805.h"

#define REG_TRICKLE   0x20
#define REG_CONF_KEY  0x1F
#define REG_CAP_RC    0x26
#define REG_ID0       0x28

#define PART_ID0      0x18	/* AM1805 / RV-1805 part number, upper byte */
#define CONF_KEY_WRT  0x9D	/* unlocks trickle, BREF, CAPRC, batmode, output control */
#define CAP_RC_ENABLE 0xA0	/* enable the CAP_RC pin (supercap) */
#define TRICKLE_ON    0xA5	/* TCS=1010 (enable), diode 0.3 V, ROUT 3 kOhm */

int rv1805_board_init(const struct device *i2c, uint16_t addr)
{
	uint8_t id[2];
	uint8_t trickle;

	if (i2c_burst_read(i2c, addr, REG_ID0, id, sizeof(id)) != 0) {
		return -ENODEV;
	}
	printk("rv1805: ID0=0x%02x ID1=0x%02x\n", id[0], id[1]);
	if (id[0] != PART_ID0) {
		return -ENOTSUP;
	}

	/* CONF_KEY re-locks after each protected write, so unlock before each. */
	if (i2c_reg_write_byte(i2c, addr, REG_CONF_KEY, CONF_KEY_WRT) ||
	    i2c_reg_write_byte(i2c, addr, REG_CAP_RC, CAP_RC_ENABLE) ||
	    i2c_reg_write_byte(i2c, addr, REG_CONF_KEY, CONF_KEY_WRT) ||
	    i2c_reg_write_byte(i2c, addr, REG_TRICKLE, TRICKLE_ON)) {
		return -EIO;
	}

	if (i2c_reg_read_byte(i2c, addr, REG_TRICKLE, &trickle) == 0) {
		printk("rv1805: trickle=0x%02x (expect 0x%02x)\n", trickle, TRICKLE_ON);
	}
	return 0;
}
```
